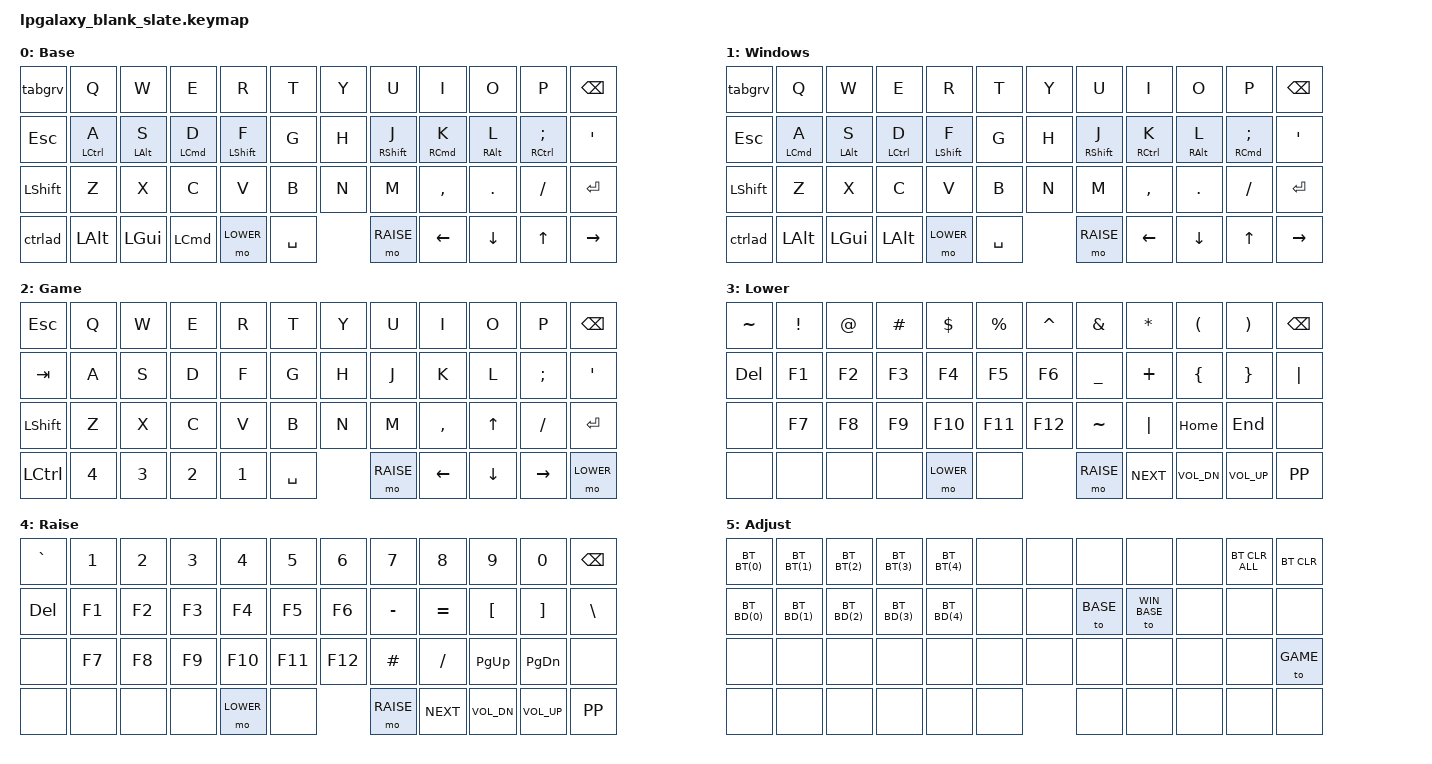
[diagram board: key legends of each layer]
/*
 * Copyright (c) 2022 Pete Johanson
 *
 * SPDX-License-Identifier: MIT
 */

#include <behaviors.dtsi>
#include <dt-bindings/zmk/keys.h>
#include <dt-bindings/zmk/bt.h>
#include <dt-bindings/zmk/outputs.h>

#define BASE 0
#define WIN_BASE 1
#define GAME 2
#define LOWER 3
#define RAISE 4
#define ADJUST 5

&mt { 
    tapping-term-ms = <280>; 
    flavor = "balanced";
    require-prior-idle-ms = <150>;
};

#define BT(n) BT_SEL n
#define BD(n) BT_DISC n

/ {
    chosen {
       zmk,physical-layout = &layout_ortho_4x12_1x2u;
    };

    macros {
      ZMK_MACRO(thumbs_up,
		wait-ms = <1>;
		tap-ms = <5>;
                bindings = <&kp PLUS &kp COLON &kp PLUS &kp N1 &kp COLON &kp RET>;
		)
    };
    
    tap_dances {
        tabgrv: tab_grave {
            compatible = "zmk,behavior-tap-dance";
            #binding-cells = <0>;
            tapping-term-ms = <200>;
            bindings = <&kp TAB>, <&kp GRAVE>;
        };
        ctrlad: ctrl_alt_del {
            compatible = "zmk,behavior-tap-dance";
            #binding-cells = <0>;
            tapping-term-ms = <200>;
            bindings = <&kp LCTRL>, <&kp LCTRL>, <&kp LC(LA(DEL))>;
        };
    };

    conditional_layers {
        compatible = "zmk,conditional-layers";
        tri_layer {
            if-layers = <LOWER RAISE>;
            then-layer = <ADJUST>;
        };
    };

    behaviors {
        tog_on: toggle_layer_on_only {
            compatible = "zmk,behavior-toggle-layer";
            #binding-cells = <1>;
            display-name = "Toggle Layer On";
            toggle-mode = "on";
        };
    };

    keymap {
        compatible = "zmk,keymap";
/*
 * Qwerty
 * ,-----------------------------------------------------------------------------------.
 * | Tab  |   Q  |   W  |   E  |   R  |   T  |   Y  |   U  |   I  |   O  |   P  | Bksp |
 * |------+------+------+------+------+------+------+------+------+------+------+------|
 * | Esc  |   A  |   S  |   D  |   F  |   G  |   H  |   J  |   K  |   L  |   ;  |  "   |
 * |------+------+------+------+------+------+------+------+------+------+------+------|
 * | Shift|   Z  |   X  |   C  |   V  |   B  |   N  |   M  |   ,  |   .  |   /  |Enter |
 * |------+------+------+------+------+------+------+------+------+------+------+------|
 * | Ctrl | Alt  | GUI  |  Cmd |Lower |    Space    |Raise | Left | Down |  Up  |Right |
 * `-----------------------------------------------------------------------------------'
 */
        base_layer {
            label = "Base";
            bindings = <
                &tabgrv    &kp Q        &kp W      &kp E       &kp R       &kp T     &kp Y    &kp U       &kp I      &kp O      &kp P          &kp BKSP
                &kp ESC    &mt LCTRL A  &mt LALT S &mt LCMD D  &mt LSHFT F &kp G     &kp H    &mt RSHFT J &mt RCMD K &mt RALT L &mt RCTRL SEMI &kp QUOT
                &kp LSHFT  &kp Z        &kp X      &kp C       &kp V       &kp B     &kp N    &kp M       &kp COMMA  &kp DOT    &kp FSLH       &kp RET
                &ctrlad    &kp LALT     &kp LGUI   &kp LCMD    &mo LOWER      &kp SPACE       &mo RAISE   &kp LEFT   &kp DOWN   &kp UP         &kp RIGHT  
            >;
        };
/*        
 * Windows Qwerty (Reverses the homerow mod for ctrl and gui, otherwise the same)
 * ,-----------------------------------------------------------------------------------.
 * | Tab  |   Q  |   W  |   E  |   R  |   T  |   Y  |   U  |   I  |   O  |   P  | Bksp |
 * |------+------+------+------+------+------+------+------+------+------+------+------|
 * | Esc  |   A  |   S  |   D  |   F  |   G  |   H  |   J  |   K  |   L  |   ;  |  "   |
 * |------+------+------+------+------+------+------+------+------+------+------+------|
 * | Shift|   Z  |   X  |   C  |   V  |   B  |   N  |   M  |   ,  |   .  |   /  |Enter |
 * |------+------+------+------+------+------+------+------+------+------+------+------|
 * | Ctrl | Alt  | GUI  | Prog |Lower |    Space    |Raise | Left | Down |  Up  |Right |
 * `-----------------------------------------------------------------------------------'
 */
        windows_layer {
            label = "Windows";
            bindings = <
                &tabgrv    &kp Q        &kp W      &kp E       &kp R       &kp T     &kp Y    &kp U       &kp I       &kp O      &kp P          &kp BKSP
                &kp ESC    &mt LCMD A   &mt LALT S &mt LCTRL D &mt LSHFT F &kp G     &kp H    &mt RSHFT J &mt RCTRL K &mt RALT L &mt RCMD SEMI  &kp QUOT
                &kp LSHFT  &kp Z        &kp X      &kp C       &kp V       &kp B     &kp N    &kp M       &kp COMMA   &kp DOT    &kp FSLH       &kp RET
                &ctrlad    &kp LALT     &kp LGUI  &kp LALT     &mo LOWER      &kp SPACE       &mo RAISE   &kp LEFT    &kp DOWN   &kp UP         &kp RIGHT     
            >;
        };
/*
 * Game
 * ,------------------------------------------------------------------------------.
 * | Esc  |  Q  |  W  |  E  |  R  |  5  |  6  |   7  |   8  |   9  |   0   | Bksp |
 * |------+-----+-----+-----+-----+-----+-----+------+------+------+-------+------|
 * | Tab  |  A  |  S  |  D  |  F  |  G  |  H  |   J  |   K  |   L  |   ;   |  "   |
 * |------+-----+-----+-----+-----+-----+-----+------+------+------+-------+------|
 * | Shift|  Z  |  X  |  C  |  V  |  B  |  N  |   M  |   ,  |  Up  |   /   |Enter |
 * |------+-----+-----+-----+-----+-----+-----+------+------+------+-------+------|
 * | Ctrl |  4  |  3  |  2  |  1  |   Space   |Raise | Left | Down | Right |Lower |   
 * `-------------------------------------------------------------------------------'
 */
        game_layer {
            label = "Game";
            bindings = <
                &kp ESC    &kp Q    &kp W   &kp E    &kp R    &kp T     &kp Y    &kp U       &kp I       &kp O      &kp P       &kp BKSP
                &kp TAB    &kp A    &kp S   &kp D    &kp F    &kp G     &kp H    &kp J       &kp K       &kp L      &kp SEMI    &kp QUOT
                &kp LSHFT  &kp Z    &kp X   &kp C    &kp V    &kp B     &kp N    &kp M       &kp COMMA   &kp UP     &kp FSLH    &kp RET
                &kp LCTRL  &kp N4   &kp N3  &kp N2   &kp N1      &kp SPACE       &mo RAISE   &kp LEFT    &kp DOWN   &kp RIGHT   &mo LOWER     
            >;
        };
/*
 * Lower
 * ,-----------------------------------------------------------------------------------.
 * |   ~  |   !  |   @  |   #  |   $  |   %  |   ^  |   &  |   *  |   (  |   )  | Bksp |
 * |------+------+------+------+------+------+------+------+------+------+------+------|
 * | Del  |  F1  |  F2  |  F3  |  F4  |  F5  |  F6  |   _  |   +  |   {  |   }  |  |   |
 * |------+------+------+------+------+------+------+------+------+------+------+------|
 * |      |  F7  |  F8  |  F9  |  F10 |  F11 |  F12 |ISO ~ |ISO | | Home | End  |      |
 * |------+------+------+------+------+------+------+------+------+------+------+------|
 * |      |      |      |      |Lower |             |Raise | Next | Vol- | Vol+ | Play |
 * `-----------------------------------------------------------------------------------'
 */
        lower_layer {
            label = "Lower";
            bindings = <
                &kp TILDE  &kp EXCL  &kp AT  &kp HASH  &kp DLLR  &kp PRCNT  &kp CARET  &kp AMPS   &kp ASTRK   &kp LPAR      &kp RPAR      &kp BKSP
                &kp DEL    &kp F1    &kp F2  &kp F3    &kp F4    &kp F5     &kp F6     &kp UNDER  &kp PLUS    &kp LBRC      &kp RBRC      &kp PIPE
                &none      &kp F7    &kp F8  &kp F9    &kp F10   &kp F11    &kp F12    &kp TILDE  &kp PIPE    &kp HOME      &kp END       &none
                &none      &none     &none   &none     &mo LOWER       &none           &mo RAISE  &kp K_NEXT  &kp C_VOL_DN  &kp K_VOL_UP  &kp K_PP    
            >;
        };
/*
 * Raise
 * ,-----------------------------------------------------------------------------------.
 * |   `  |   1  |   2  |   3  |   4  |   5  |   6  |   7  |   8  |   9  |   0  | Bksp |
 * |------+------+------+------+------+------+------+------+------+------+------+------|
 * | Del  |  F1  |  F2  |  F3  |  F4  |  F5  |  F6  |   -  |   =  |   [  |   ]  |  \   |
 * |------+------+------+------+------+------+------+------+------+------+------+------|
 * |      |  F7  |  F8  |  F9  |  F10 |  F11 |  F12 |ISO # |ISO / |Pg Up |Pg Dn |      |
 * |------+------+------+------+------+------+------+------+------+------+------+------|
 * |      |      |      |      |Lower |             |Raise | Next | Vol- | Vol+ | Play |
 * `-----------------------------------------------------------------------------------'
 */
        raise_layer {
            label = "Raise";
            bindings = <
                &kp GRAVE  &kp N1  &kp N2  &kp N3  &kp N4  &kp N5   &kp N6   &kp N7      &kp N8      &kp N9        &kp N0        &kp BKSP
                &kp DEL    &kp F1  &kp F2  &kp F3  &kp F4  &kp F5   &kp F6   &kp MINUS   &kp EQUAL   &kp LBKT      &kp RBKT      &kp BSLH
                &none      &kp F7  &kp F8  &kp F9  &kp F10 &kp F11  &kp F12  &kp HASH    &kp FSLH    &kp PG_UP     &kp PG_DN     &none
                &none      &none   &none   &none   &mo LOWER     &none       &mo RAISE   &kp K_NEXT  &kp C_VOL_DN  &kp K_VOL_UP  &kp K_PP    
            >;
        };
/*
 * Adjust (Lower + Raise)
 * ,-----------------------------------------------------------------------------------.
 * | BT 0 | BT 1 | BT 2 | BT 3 | BT 4 |      |      |      |      |      |ClearAll|Clear |
 * |------+------+------+------+------+------+------+------+------+------+--------+------|
 * |DISC 0|DISC 1|DISC 2|DISC 3|DISC 4|      |      |Qwerty|WinQwt|      |        |      |
 * |------+------+------+------+------+------+------+------+------+------+--------+------|
 * |      |      |      |      |      |      |      |      |      |      |        | GAME |
 * |------+------+------+------+------+------+------+------+------+------+--------+------|
 * |      |      |      |      |      |             |      |      |      |        |      |
 * `-------------------------------------------------------------------------------------'
 */
        adjust_layer {
            label = "Adjust";
            bindings = <
                &bt BT(0)  &bt BT(1)  &bt BT(2)  &bt BT(3)  &bt BT(4)  &none  &none  &none     &none         &none  &bt BT_CLR_ALL  &bt BT_CLR
                &bt BD(0)  &bt BD(1)  &bt BD(2)  &bt BD(3)  &bt BD(4)  &none  &none  &to BASE  &to WIN_BASE  &none  &none           &none
                &none      &none      &none      &none      &none      &none  &none  &none     &none         &none  &none           &to GAME
                &none      &none      &none      &none       &none         &none     &none     &none         &none  &none           &none
            >;
        };
    };
};



